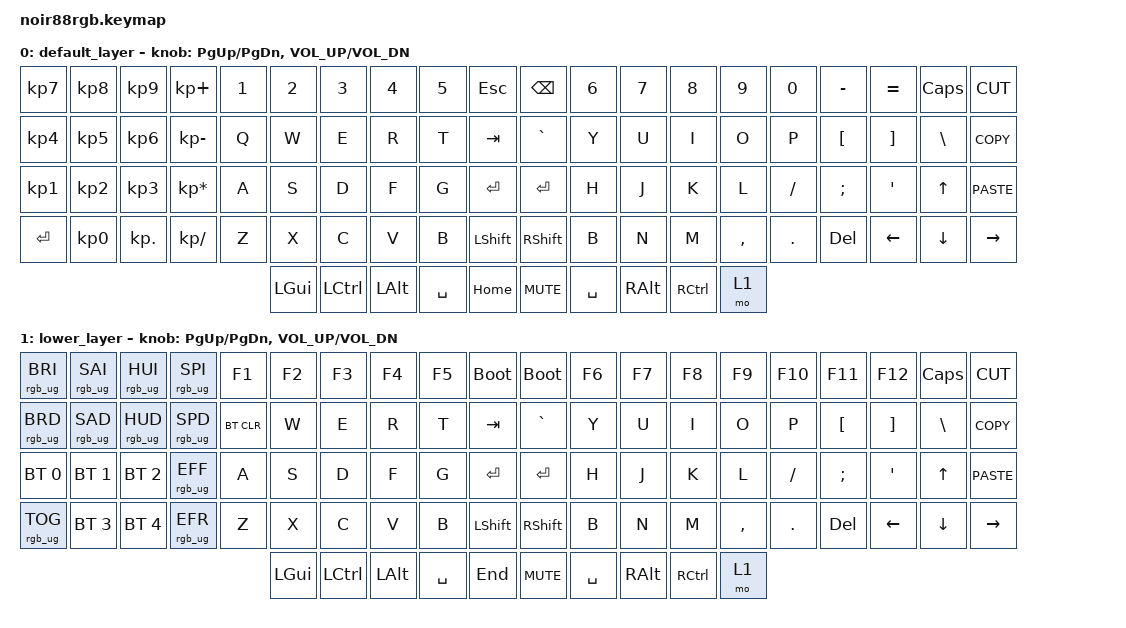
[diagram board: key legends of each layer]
/*
 * Copyright (c) 2020 The ZMK Contributors
 *
 * SPDX-License-Identifier: MIT
 */

#include <behaviors.dtsi>
#include <dt-bindings/zmk/bt.h>
#include <dt-bindings/zmk/keys.h>
#include <dt-bindings/zmk/rgb.h>

#define BASE 0
#define LOWER 1

/ {
    keymap {
        compatible = "zmk,keymap";

        default_layer {
            // ------------------------------------------------------------------------------------------------------------
            // |7    |8     |9      |+      |1      |2      |3      |4      |5      |ESC    |              |BACK   |6       |7     |8     |9     |0     |-     |+     |COPY  |PASTE |
            // |4    |5     |6      |-      |Q      |W      |E      |R      |T      |TAB    |              |`      |Y       |U     |I     |O     |P     |"["   |"]"   |\     |HOME  |
            // |1    |2     |3      |*      |A      |S      |D      |F      |G      |CAP    |              |ENTER  |H       |J     |K     |L     |/     |;     |'     |UP    |END   |
            // |ENTER|0     |.      |/      |Z      |X      |C      |V      |B      |SHIFT  |EC11  ||EC11  |SHIFT  |B       |N     |M     |,     |.     |DEL   |LEFT  |DOWN  |RIGHT |
            //                                              |GUI    |CTRL   |ALT    |SPACE  |              |SPACE  |ALT     |CTRL  |LOWER |

            bindings = <
&kp KP_N7  &kp KP_N8  &kp KP_N9   &kp KP_PLUS      &kp N1  &kp N2    &kp N3     &kp N4    &kp N5     &kp ESC     &kp BSPC    &kp N6     &kp N7    &kp N8     &kp N9     &kp N0    &kp MINUS  &kp EQUAL  &kp CAPS  &kp K_CUT
&kp KP_N4  &kp KP_N5  &kp KP_N6   &kp KP_MINUS     &kp Q   &kp W     &kp E      &kp R     &kp T      &kp TAB     &kp GRAVE   &kp Y      &kp U     &kp I      &kp O      &kp P     &kp LBKT   &kp RBKT   &kp BSLH  &kp K_COPY
&kp KP_N1  &kp KP_N2  &kp KP_N3   &kp KP_MULTIPLY  &kp A   &kp S     &kp D      &kp F     &kp G      &kp ENTER   &kp ENTER   &kp H      &kp J     &kp K      &kp L      &kp FSLH  &kp SEMI   &kp SQT    &kp UP    &kp K_PASTE
&kp ENTER  &kp KP_N0  &kp KP_DOT  &kp KP_DIVIDE    &kp Z   &kp X     &kp C      &kp V     &kp B      &kp LSHIFT  &kp RSHIFT  &kp B      &kp N     &kp M      &kp COMMA  &kp DOT   &kp DEL    &kp LEFT   &kp DOWN  &kp RIGHT
                                                           &kp LGUI  &kp LCTRL  &kp LALT  &kp SPACE  &kp HOME    &kp C_MUTE  &kp SPACE  &kp RALT  &kp RCTRL  &mo 1
            >;

            sensor-bindings =
                <&inc_dec_kp PAGE_UP PAGE_DOWN>,
                <&inc_dec_kp C_VOL_UP C_VOL_DN>;
        };

        lower_layer {
            // ------------------------------------------------------------------------------------------------------------
            // |RGB BRI+|RGB SAT+|RGB HUE+|RGB SPD+|F1     |F2     |F3        |F4     |F5     |ESC    |              |BACK   |F6      |F7    |F8        |F9    |F10   |F11   |F12   |COPY  |PASTE |
            // |RGB BRI-|RGB SAT-|RGB HUE-|RGB SPD-|BT_CLR |W      |E         |R      |T      |TAB    |              |`      |Y       |U     |I         |O     |P     |"["   |"]"   |\     |HOME  |
            // |BT1     |BT2     |BT3     |RGB ANI+|A      |S      |D         |F      |G      |CAP    |              |ENTER  |H       |J     |K         |L     |/     |;     |'     |UP    |END   |
            // |RGB TOG |BT4     |BT5     |RGB ANI-|Z      |X      |BOOTLOADER|V      |B      |SHIFT  |EC11  ||EC11  |SHIFT  |B       |N     |BOOTLOADER|,     |.     |DEL   |LEFT  |DOWN  |RIGHT |
            //                                                     |GUI       |CTRL   |ALT    |SPACE  |              |SPACE  |ALT     |CTRL  |LOWER     |

            bindings = <
&rgb_ug RGB_BRI  &rgb_ug RGB_SAI  &rgb_ug RGB_HUI  &rgb_ug RGB_SPI  &kp F1      &kp F2    &kp F3     &kp F4    &kp F5     &bootloader  &bootloader  &kp F6     &kp F7    &kp F8     &kp F9     &kp F10   &kp F11   &kp F12   &kp CAPS  &kp K_CUT
&rgb_ug RGB_BRD  &rgb_ug RGB_SAD  &rgb_ug RGB_HUD  &rgb_ug RGB_SPD  &bt BT_CLR  &kp W     &kp E      &kp R     &kp T      &kp TAB      &kp GRAVE    &kp Y      &kp U     &kp I      &kp O      &kp P     &kp LBKT  &kp RBKT  &kp BSLH  &kp K_COPY
&bt BT_SEL 0     &bt BT_SEL 1     &bt BT_SEL 2     &rgb_ug RGB_EFF  &kp A       &kp S     &kp D      &kp F     &kp G      &kp ENTER    &kp ENTER    &kp H      &kp J     &kp K      &kp L      &kp FSLH  &kp SEMI  &kp SQT   &kp UP    &kp K_PASTE
&rgb_ug RGB_TOG  &bt BT_SEL 3     &bt BT_SEL 4     &rgb_ug RGB_EFR  &kp Z       &kp X     &kp C      &kp V     &kp B      &kp LSHIFT   &kp RSHIFT   &kp B      &kp N     &kp M      &kp COMMA  &kp DOT   &kp DEL   &kp LEFT  &kp DOWN  &kp RIGHT
                                                                                &kp LGUI  &kp LCTRL  &kp LALT  &kp SPACE  &kp END      &kp C_MUTE   &kp SPACE  &kp RALT  &kp RCTRL  &mo 1
            >;

            sensor-bindings =
                <&inc_dec_kp PAGE_UP PAGE_DOWN>,
                <&inc_dec_kp C_VOLUME_UP C_VOL_DN>;
        };
    };
};
